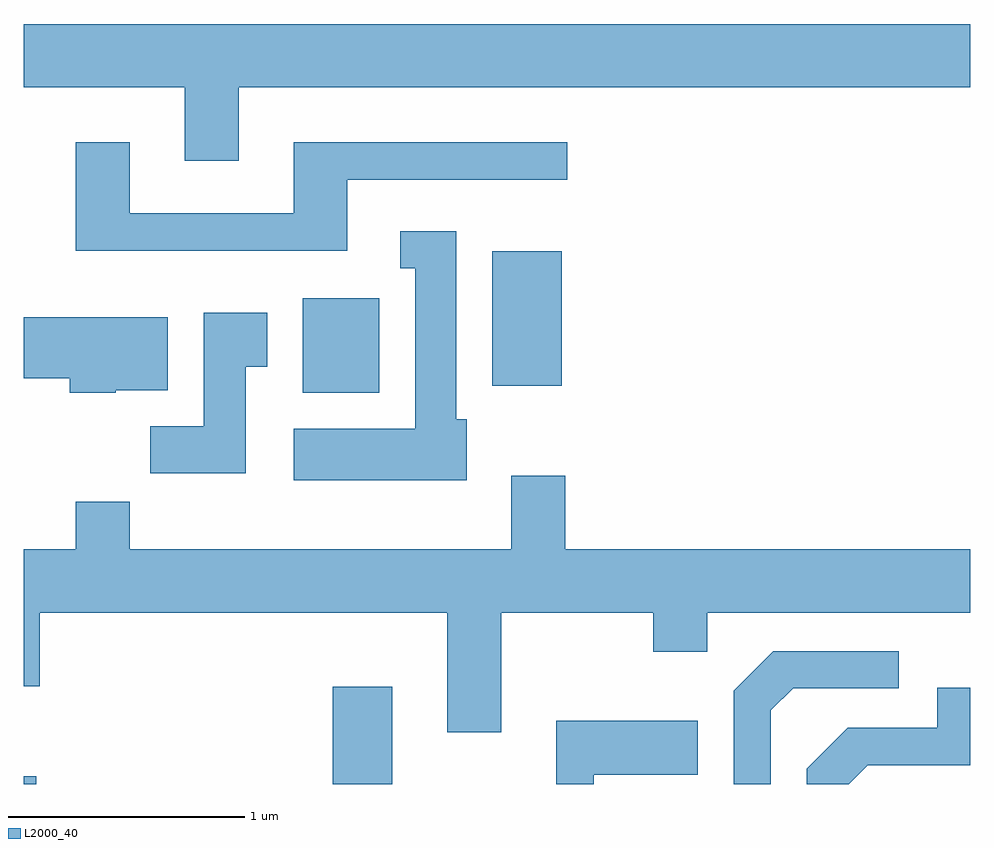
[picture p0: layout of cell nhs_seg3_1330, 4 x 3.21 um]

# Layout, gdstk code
import gdstk
lib = gdstk.Library(unit=1e-6, precision=1e-09)
def R(c, l, rs):  # rectangles x0, y0, x1, y1
    for r in rs: c.add(gdstk.rectangle(r[:2], r[2:], *l))
def P(c, l, *ps):  # polygons
    for p in ps: c.add(gdstk.Polygon(p, *l))
L2000_40 = (2000, 40)

nhs_seg3_1330 = lib.new_cell('nhs_seg3_1330')
R(nhs_seg3_1330, L2000_40, [(223.611,1191.892,223.664,1191.924), (224.916,1191.892,225.169,1192.304), (224.791,1193.546,225.114,1193.944), (225.591,1193.576,225.884,1194.144)])
P(nhs_seg3_1330, L2000_40, [(224.519,1194.836),(227.611,1194.836),(227.611,1195.104),(223.611,1195.104),(223.611,1194.836),(224.291,1194.836),(224.291,1194.526),(224.519,1194.526)],
  [(224.979,1194.446),(225.908,1194.446),(225.908,1194.604),(224.751,1194.604),(224.751,1194.304),(224.059,1194.304),(224.059,1194.604),(223.831,1194.604),(223.831,1194.146),(224.979,1194.146)],
  [(225.484,1193.434),(225.439,1193.434),(225.439,1194.229),(225.203,1194.229),(225.203,1194.071),(225.266,1194.071),(225.266,1193.394),(224.751,1193.394),(224.751,1193.176),(225.484,1193.176)],
  [(224.549,1193.656),(224.639,1193.656),(224.639,1193.884),(224.371,1193.884),(224.371,1193.404),(224.146,1193.404),(224.146,1193.206),(224.549,1193.206)],
  [(224,1193.556),(224.219,1193.556),(224.219,1193.864),(223.611,1193.864),(223.611,1193.606),(223.806,1193.606),(223.806,1193.546),(224,1193.546)],
  [(225.629,1192.616),(226.271,1192.616),(226.271,1192.451),(226.499,1192.451),(226.499,1192.616),(227.611,1192.616),(227.611,1192.884),(225.899,1192.884),(225.899,1193.194),(225.671,1193.194),(225.671,1192.884),(224.059,1192.884),(224.059,1193.084),(223.831,1193.084),(223.831,1192.884),(223.611,1192.884),(223.611,1192.306),(223.679,1192.306),(223.679,1192.616),(225.401,1192.616),(225.401,1192.111),(225.629,1192.111)],
  [(226.769,1192.204),(226.862,1192.296),(227.308,1192.296),(227.308,1192.454),(226.779,1192.454),(226.611,1192.287),(226.611,1191.892),(226.769,1191.892)],
  [(227.177,1191.971),(227.611,1191.971),(227.611,1192.299),(227.471,1192.299),(227.471,1192.129),(227.094,1192.129),(226.921,1191.957),(226.921,1191.892),(227.097,1191.892)],
  [(226.019,1191.931),(226.459,1191.931),(226.459,1192.159),(225.861,1192.159),(225.861,1191.892),(226.019,1191.892)])

lib.write_gds('nhs_seg3_1330.gds')
